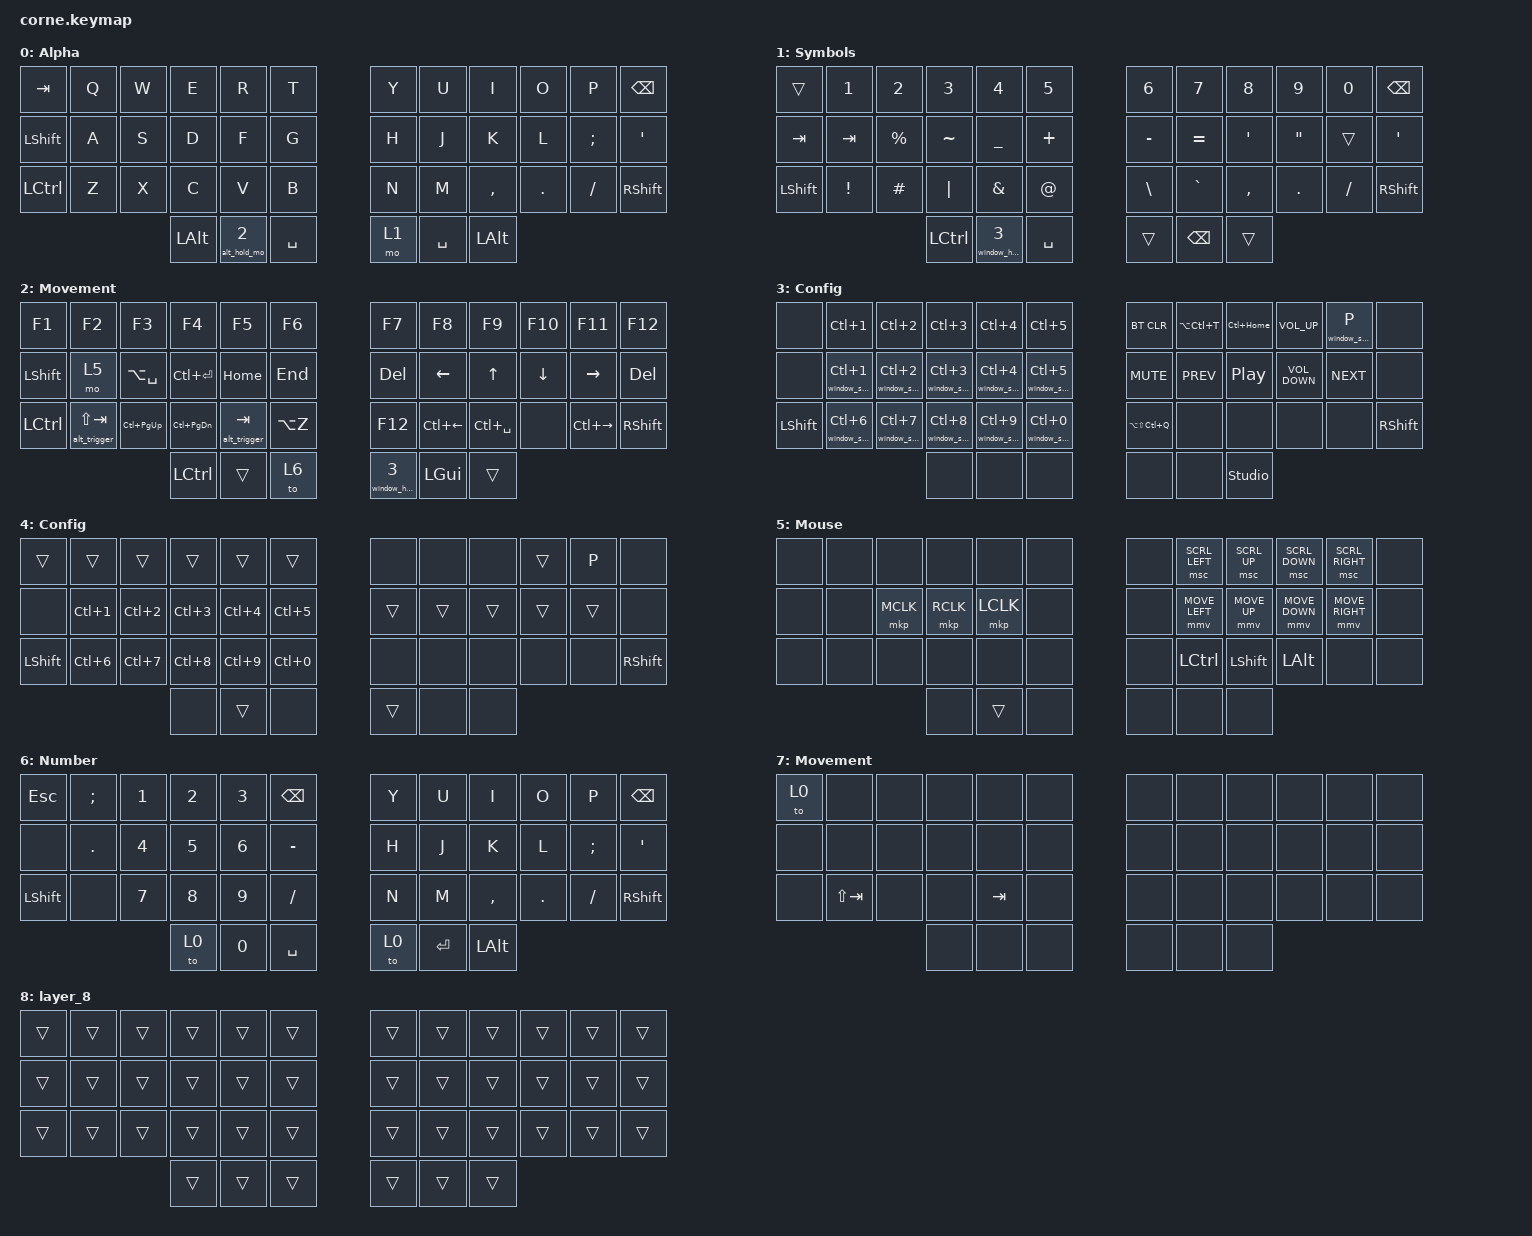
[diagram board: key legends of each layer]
/*
 * Copyright (c) 2020 The ZMK Contributors
 *
 * SPDX-License-Identifier: MIT
 */

#define ZMK_POINTING_DEFAULT_MOVE_VAL 1800
#define ZMK_POINTING_DEFAULT_SCRL_VAL 25

#include <behaviors.dtsi>
#include <dt-bindings/zmk/bt.h>
#include <dt-bindings/zmk/keys.h>
#include <dt-bindings/zmk/pointing.h>

/ {
    combos {
        compatible = "zmk,combos";

        capslock {
            bindings = <&kp CAPSLOCK>;
            key-positions = <24 35>;
            layers = <0>;
        };

        left_bracket {
            bindings = <&kp LEFT_PARENTHESIS>;
            key-positions = <15 16>;
            layers = <0 1>;
        };

        right_bracket {
            bindings = <&kp RIGHT_PARENTHESIS>;
            key-positions = <19 20>;
            layers = <0 1>;
        };

        left_curly {
            bindings = <&kp LEFT_BRACE>;
            key-positions = <15 14>;
            layers = <0 1>;
        };

        right_curly {
            bindings = <&kp RIGHT_BRACE>;
            key-positions = <20 21>;
            layers = <0 1>;
        };

        left_square {
            bindings = <&kp LEFT_BRACKET>;
            key-positions = <25 26>;
            layers = <0 1>;
        };

        right_square {
            bindings = <&kp RIGHT_BRACKET>;
            key-positions = <33 34>;
            layers = <0 1>;
        };

        bt_sel_0 {
            bindings = <&bt BT_SEL 0>;
            key-positions = <18 19>;
            layers = <3 4>;
        };

        bt_sel_1 {
            bindings = <&bt BT_SEL 1>;
            key-positions = <19 20>;
            layers = <3 4>;
        };

        bt_sel_2 {
            bindings = <&bt BT_SEL 2>;
            key-positions = <20 21>;
            layers = <3 4>;
        };

        bt_sel_3 {
            bindings = <&bt BT_SEL 3>;
            key-positions = <21 22>;
            layers = <3 4>;
        };

        bt_sel_4 {
            bindings = <&bt BT_SEL 4>;
            key-positions = <22 23>;
            layers = <3 4>;
        };

        panic_esc_combo {
            bindings = <&panic_esc>;
            key-positions = <1 2>;
        };

        enter_combo_right {
            bindings = <&kp ENTER>;
            key-positions = <19 20 21>;
            layers = <0 1>;
        };

        caret_combo {
            bindings = <&kp CARET>;
            key-positions = <28 27>;
            layers = <1>;
        };

        asterisk_combo {
            bindings = <&kp STAR>;
            key-positions = <27 26>;
            layers = <1>;
        };

        enter_combo_left {
            bindings = <&kp ENTER>;
            key-positions = <14 15 16>;
            layers = <0 1>;
        };

        dollar_combo {
            bindings = <&kp DOLLAR>;
            key-positions = <13 14>;
            layers = <1>;
        };

        test_left_square {
            bindings = <&kp LEFT_BRACKET>;
            key-positions = <14 16>;
            layers = <0 1>;
        };

        test_right_square {
            bindings = <&kp RIGHT_BRACKET>;
            key-positions = <21 19>;
            layers = <0 1>;
        };
    };

    macros {
        window_hold_mo: custom_mo_3 {
            compatible = "zmk,behavior-macro-one-param";
            #binding-cells = <1>;
            bindings =
                <&macro_param_1to1>,
                <&macro_press>,
                <&mo MACRO_PLACEHOLDER &macro_param_1to1>,
                <&macro_pause_for_release>,
                <&macro_release>,
                <&mo MACRO_PLACEHOLDER &kp RGUI &mo 4>;

            label = "CUSTOM_MO_3";
        };

        window_switch_trigger: window_switch_1 {
            compatible = "zmk,behavior-macro-one-param";
            #binding-cells = <1>;
            bindings =
                <&macro_press>,
                <&kp RGUI &macro_param_1to1>,
                <&macro_tap>,
                <&kp MACRO_PLACEHOLDER>,
                <&macro_press>,
                <&mo 4>;

            label = "WINDOW_SWITCH_1";
        };

        alt_hold_mo: alt_hold_mo {
            compatible = "zmk,behavior-macro-one-param";
            #binding-cells = <1>;
            bindings =
                <&macro_param_1to1>,
                <&macro_press>,
                <&mo MACRO_PLACEHOLDER &macro_param_1to1>,
                <&macro_pause_for_release>,
                <&macro_release>,
                <&mo MACRO_PLACEHOLDER &kp RIGHT_ALT &mo 7>;

            label = "ALT_HOLD_MO";
        };

        alt_trigger: alt_trigger {
            compatible = "zmk,behavior-macro-one-param";
            #binding-cells = <1>;
            bindings =
                <&macro_press>,
                <&kp RIGHT_ALT &macro_param_1to1>,
                <&macro_tap>,
                <&kp MACRO_PLACEHOLDER>,
                <&macro_press>,
                <&mo 7>;

            label = "ALT_TRIGGER";
        };

        panic_esc: master_esc {
            compatible = "zmk,behavior-macro";
            #binding-cells = <0>;
            bindings =
                <&macro_release>,
                <&kp RIGHT_GUI &kp RIGHT_ALT>,
                <&macro_tap>,
                <&kp ESCAPE>;

            label = "MASTER_ESC";
        };
    };

    keymap {
        compatible = "zmk,keymap";

        default_layer {
            // -----------------------------------------------------------------------------------------
            // |  TAB |  Q  |  W  |  E  |  R  |  T  |   |  Y  |  U   |  I  |  O  |  P  | BKSP |
            // | CTRL |  A  |  S  |  D  |  F  |  G  |   |  H  |  J   |  K  |  L  |  ;  |  '   |
            // | SHFT |  Z  |  X  |  C  |  V  |  B  |   |  N  |  M   |  ,  |  .  |  /  | ESC  |
            //                    | GUI | LWR | SPC |   | ENT | RSE  | ALT |

            display-name = "Alpha";
            bindings = <
&kp TAB         &kp Q  &kp W  &kp E         &kp R           &kp T        &kp Y  &kp U      &kp I         &kp O    &kp P     &kp BSPC
&kp LEFT_SHIFT  &kp A  &kp S  &kp D         &kp F           &kp G        &kp H  &kp J      &kp K         &kp L    &kp SEMI  &kp SQT
&kp LCTRL       &kp Z  &kp X  &kp C         &kp V           &kp B        &kp N  &kp M      &kp COMMA     &kp DOT  &kp FSLH  &kp RIGHT_SHIFT
                              &kp LEFT_ALT  &alt_hold_mo 2  &kp SPACE    &mo 1  &kp SPACE  &kp LEFT_ALT
            >;

            label = "Alpha";
        };

        lower_layer {
            // -----------------------------------------------------------------------------------------
            // |  TAB |  1  |  2  |  3  |  4  |  5  |   |  6  |  7  |  8  |  9  |  0  | BKSP |
            // | BTCLR| BT1 | BT2 | BT3 | BT4 | BT5 |   | LFT | DWN |  UP | RGT |     |      |
            // | SHFT |     |     |     |     |     |   |     |     |     |     |     |      |
            //                    | GUI |     | SPC |   | ENT |     | ALT |

            display-name = "Symbols";
            bindings = <
&trans     &kp N1           &kp N2       &kp N3     &kp N4             &kp N5         &kp N6     &kp N7         &kp N8            &kp N9   &kp N0    &kp BSPC
&kp TAB    &kp TAB          &kp PERCENT  &kp TILDE  &kp UNDER          &kp PLUS       &kp MINUS  &kp EQUAL      &kp SINGLE_QUOTE  &kp DQT  &trans    &kp SQT
&kp LSHFT  &kp EXCLAMATION  &kp HASH     &kp PIPE   &kp AMPERSAND      &kp AT_SIGN    &kp BSLH   &kp GRAVE      &kp COMMA         &kp DOT  &kp FSLH  &kp RSHFT
                                         &kp LCTRL  &window_hold_mo 3  &kp SPACE      &trans     &kp BACKSPACE  &trans
            >;
        };

        raise_layer {
            // -----------------------------------------------------------------------------------------
            // |  TAB |  !  |  @  |  #  |  $  |  %  |   |  ^  |  &  |  *  |  (  |  )  | BKSP |
            // | CTRL |     |     |     |     |     |   |  -  |  =  |  [  |  ]  |  \  |  `   |
            // | SHFT |     |     |     |     |     |   |  _  |  +  |  {  |  }  | "|" |  ~   |
            //                    | GUI |     | SPC |   | ENT |     | ALT |

            display-name = "Movement";
            bindings = <
&kp F1          &kp F2                &kp F3         &kp F4             &kp F5            &kp F6       &kp F7             &kp F8              &kp F9         &kp F10   &kp F11              &kp F12
&kp LEFT_SHIFT  &mo 5                 &kp LA(SPACE)  &kp LC(ENTER)      &kp HOME          &kp END      &kp DELETE         &kp LEFT            &kp UP         &kp DOWN  &kp RIGHT            &kp DEL
&kp LCTRL       &alt_trigger LS(TAB)  &kp LC(PG_UP)  &kp LC(PAGE_DOWN)  &alt_trigger TAB  &kp LA(Z)    &kp F12            &kp LC(LEFT_ARROW)  &kp LC(SPACE)  &none     &kp LC(RIGHT_ARROW)  &kp RSHFT
                                                     &kp LEFT_CONTROL   &trans            &to 6        &window_hold_mo 3  &kp LGUI            &trans
            >;
        };

        config_layer {
            bindings = <
&none           &kp LC(NUMBER_1)               &kp LC(NUMBER_2)               &kp LC(NUMBER_3)               &kp LC(NUMBER_4)               &kp LC(N5)                       &bt BT_CLR         &kp LA(LC(T))  &kp LC(HOME)      &kp C_VOLUME_UP    &window_switch_trigger P  &none
&none           &window_switch_trigger LC(N1)  &window_switch_trigger LC(N2)  &window_switch_trigger LC(N3)  &window_switch_trigger LC(N4)  &window_switch_trigger LC(N5)    &kp C_MUTE         &kp C_PREV     &kp C_PLAY_PAUSE  &kp C_VOLUME_DOWN  &kp C_NEXT                &none
&kp LEFT_SHIFT  &window_switch_trigger LC(N6)  &window_switch_trigger LC(N7)  &window_switch_trigger LC(N8)  &window_switch_trigger LC(N9)  &window_switch_trigger LC(N0)    &kp LA(LS(LC(Q)))  &none          &none             &none              &none                     &kp RIGHT_SHIFT
                                                                              &none                          &none                          &none                            &none              &none          &studio_unlock
            >;

            label = "Config";
        };

        second_config {
            label = "Config";
            bindings = <
&trans          &trans      &trans      &trans      &trans      &trans        &none   &none   &none   &trans  &kp P   &none
&none           &kp LC(N1)  &kp LC(N2)  &kp LC(N3)  &kp LC(N4)  &kp LC(N5)    &trans  &trans  &trans  &trans  &trans  &none
&kp LEFT_SHIFT  &kp LC(N6)  &kp LC(N7)  &kp LC(N8)  &kp LC(N9)  &kp LC(N0)    &none   &none   &none   &none   &none   &kp RIGHT_SHIFT
                                        &none       &trans      &none         &trans  &none   &none
            >;
        };

        cursor_layer {
            bindings = <
&none  &none  &none      &none      &none      &none    &none  &msc SCRL_LEFT  &msc SCRL_UP    &msc SCRL_DOWN  &msc SCRL_RIGHT  &none
&none  &none  &mkp MCLK  &mkp RCLK  &mkp LCLK  &none    &none  &mmv MOVE_LEFT  &mmv MOVE_UP    &mmv MOVE_DOWN  &mmv MOVE_RIGHT  &none
&none  &none  &none      &none      &none      &none    &none  &kp LCTRL       &kp LEFT_SHIFT  &kp LEFT_ALT    &none            &none
                         &none      &trans     &none    &none  &none           &none
            >;

            label = "Mouse";
        };

        number_layer {
            bindings = <
&kp ESC         &kp SEMI  &kp N1  &kp N2  &kp N3  &kp BSPC     &kp Y  &kp U      &kp I         &kp O    &kp P     &kp BSPC
&none           &kp DOT   &kp N4  &kp N5  &kp N6  &kp MINUS    &kp H  &kp J      &kp K         &kp L    &kp SEMI  &kp SQT
&kp LEFT_SHIFT  &none     &kp N7  &kp N8  &kp N9  &kp FSLH     &kp N  &kp M      &kp COMMA     &kp DOT  &kp FSLH  &kp RSHFT
                                  &to 0   &kp N0  &kp SPACE    &to 0  &kp ENTER  &kp LEFT_ALT
            >;

            label = "Number";
        };

        window_switch {
            bindings = <
&to 0  &none        &none  &none  &none    &none    &none  &none  &none  &none  &none  &none
&none  &none        &none  &none  &none    &none    &none  &none  &none  &none  &none  &none
&none  &kp LS(TAB)  &none  &none  &kp TAB  &none    &none  &none  &none  &none  &none  &none
                           &none  &none    &none    &none  &none  &none
            >;

            label = "Movement";
        };

        layer_8 {
            bindings = <
&trans  &trans  &trans  &trans  &trans  &trans    &trans  &trans  &trans  &trans  &trans  &trans
&trans  &trans  &trans  &trans  &trans  &trans    &trans  &trans  &trans  &trans  &trans  &trans
&trans  &trans  &trans  &trans  &trans  &trans    &trans  &trans  &trans  &trans  &trans  &trans
                        &trans  &trans  &trans    &trans  &trans  &trans
            >;
        };
    };
};
